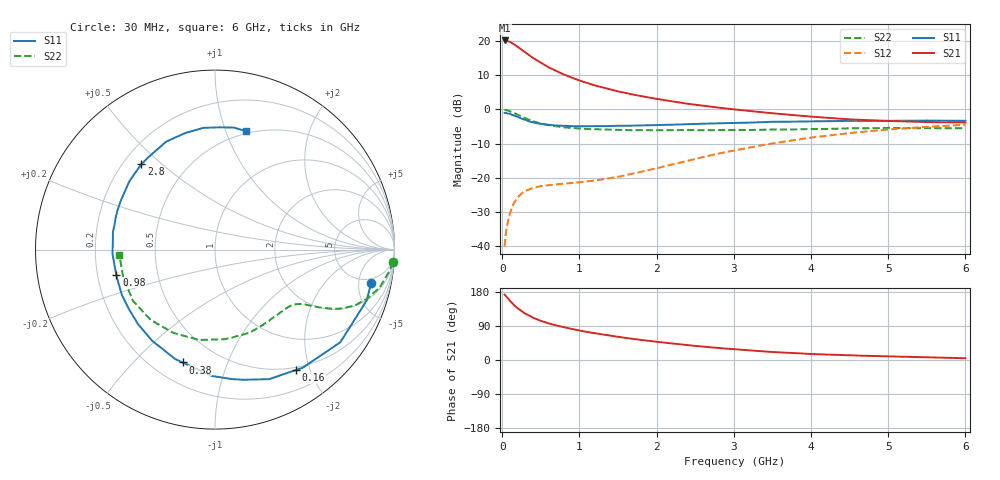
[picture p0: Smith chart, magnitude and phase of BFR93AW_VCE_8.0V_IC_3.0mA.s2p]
! Infineon Technologies  Discrete & RF Semiconductors
! BFR93AW
! VCE =  8.0 V,  IC =  3.0 mA
! Common Emitter S-Parameters:  Nov 2015
# GHz  S  MA  R  50
!  f  S11  S21  S12  S22
! GHz  MAG  ANG  MAG  ANG  MAG  ANG  MAG  ANG
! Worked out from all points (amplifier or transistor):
!   206 points, 30 MHz to 6 GHz, reference 50 ohm
!   highest |S21| = 20.1 dB at 30 MHz (marker M1)
!   |S21| within 3 dB of that: start of sweep to 268.9 MHz
!   unconditionally stable (mu >= 1): 1.11 GHz to 2.236 GHz
!   at 200 MHz: K = 0.22, MSG = 22.0 dB, |S12| = -25.6 dB
!   at 1.56 GHz: K = 1.12, MAG = 10.0 dB, |S12| = -19.4 dB
!   at 6 GHz: K = 0.95, MSG = 0.3 dB, |S12| = -4.5 dB
!   S11 on the Smith chart (normalised r, x): 30 MHz: 4.03, -7.22; 160 MHz: 0.46, -1.79; 380 MHz: 0.32, -0.70; 980 MHz: 0.28, -0.11; 2.8 GHz: 0.27, +0.43; 6 GHz: 0.48, +1.18
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0.03  0.89 -12.1  10.15 172.7  0.0101 84.4  0.9921 -4.1
0.05  0.8912 -18.6  10.08 167.6  0.0168 81.6  0.9811 -6.8
0.1  0.8683 -36.5  9.684 156.0  0.0306 70.4  0.9423 -12.9
0.15  0.8194 -53.5  8.965 145.2  0.0432 62.8  0.8912 -17.9
0.16  0.8083 -56.1  8.8 143.6  0.0449 61.3  0.8802 -18.6
0.2  0.7823 -67.3  8.218 136.4  0.0522 56.3  0.8379 -21.8
0.26  0.7281 -82.4  7.307 127.3  0.0606 50.8  0.7765 -25.0
0.3  0.7043 -91.4  6.771 122.0  0.0649 47.8  0.7416 -26.5
0.38  0.6542 -106.0  5.83 113.9  0.0701 43.9  0.6849 -28.3
0.4  0.6488 -109.9  5.617 111.4  0.0714 43.0  0.6708 -28.8
0.5  0.6171 -124.5  4.782 103.2  0.076 40.3  0.621 -30.3
0.6  0.5971 -135.9  4.115 96.6  0.0786 39.6  0.5889 -31.3
0.8  0.5771 -154.1  3.224 86.2  0.0825 40.6  0.5466 -33.8
0.98  0.567 -165.8  2.693 78.7  0.086 44.0  0.5283 -36.0
1.04  0.5664 -169.2  2.554 76.4  0.0875 45.4  0.5227 -37.1
1.5  0.5773 170.1  1.833 61.2  0.1038 57.1  0.5036 -45.9
2.02  0.5921 152.0  1.413 47.5  0.1402 66.7  0.4975 -58.4
2.8  0.628 130.8  1.064 31.7  0.227 69.9  0.4994 -78.8
3.1  0.6376 123.5  0.975 27.0  0.2636 68.0  0.5008 -87.2
4.1  0.6713 102.5  0.771 15.1  0.3998 57.2  0.518 -119.7
5.1  0.6822 86.6  0.673 9.0  0.518 42.5  0.535 -150.9
6  0.682 75.3  0.644 4.7  0.5981 29.8  0.5333 -176.6
